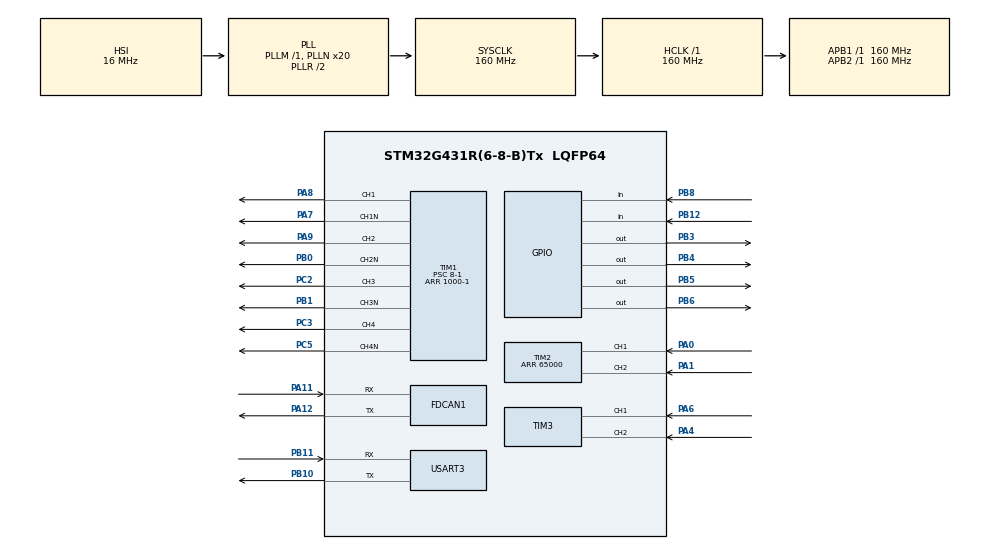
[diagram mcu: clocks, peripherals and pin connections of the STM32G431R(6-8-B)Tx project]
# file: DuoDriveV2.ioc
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FDCAN1.CalculateBaudRateNominal=3333333
FDCAN1.CalculateTimeBitNominal=300
FDCAN1.CalculateTimeQuantumNominal=100.0
Mcu.Family=STM32G4
Mcu.Name=STM32G431R(6-8-B)Tx
Mcu.Package=LQFP64
NVIC.PriorityGroup=NVIC_PRIORITYGROUP_4
NVIC.TIM1_TRG_COM_TIM17_IRQn=true\:0\:0\:false\:false\:true\:true\:true\:true
NVIC.TIM1_UP_TIM16_IRQn=true\:0\:0\:false\:false\:true\:true\:true\:true
PA0.Signal=S_TIM2_CH1
PA1.Signal=S_TIM2_CH2
PA11.Mode=FDCAN_Activate
PA11.Signal=FDCAN1_RX
PA12.Mode=FDCAN_Activate
PA12.Signal=FDCAN1_TX
PA13.Mode=Serial_Wire
PA13.Signal=SYS_JTMS-SWDIO
PA14.Mode=Serial_Wire
PA14.Signal=SYS_JTCK-SWCLK
PA4.Signal=S_TIM3_CH2
PA6.Signal=S_TIM3_CH1
PA7.Mode=PWM Generation1 CH1 CH1N
PA7.Signal=TIM1_CH1N
PA8.Signal=S_TIM1_CH1
PA9.Signal=S_TIM1_CH2
PB0.Mode=PWM Generation2 CH2 CH2N
PB0.Signal=TIM1_CH2N
PB1.Mode=PWM Generation3 CH3 CH3N
PB1.Signal=TIM1_CH3N
PB10.Mode=Asynchronous
PB10.Signal=USART3_TX
PB11.Mode=Asynchronous
PB11.Signal=USART3_RX
PB12.Signal=GPIO_Input
PB3.Signal=GPIO_Output
PB4.Signal=GPIO_Output
PB5.Signal=GPIO_Output
PB6.Signal=GPIO_Output
PB8-BOOT0.Signal=GPIO_Input
PC2.Signal=S_TIM1_CH3
PC3.Signal=S_TIM1_CH4
PC5.Mode=PWM Generation4 CH4 CH4N
PC5.Signal=TIM1_CH4N
PF0-OSC_IN.Mode=HSE-External-Oscillator
PF0-OSC_IN.Signal=RCC_OSC_IN
PF1-OSC_OUT.Mode=HSE-External-Oscillator
PF1-OSC_OUT.Signal=RCC_OSC_OUT
ProjectManager.HeapSize=0x200
ProjectManager.StackSize=0x400
ProjectManager.TargetToolchain=STM32CubeIDE
RCC.ADC12Freq_Value=160000000
RCC.AHBFreq_Value=160000000
RCC.APB1Freq_Value=160000000
RCC.APB1TimFreq_Value=160000000
RCC.APB2Freq_Value=160000000
RCC.APB2TimFreq_Value=160000000
RCC.CortexFreq_Value=160000000
RCC.EXTERNAL_CLOCK_VALUE=12288000
RCC.HCLKFreq_Value=160000000
RCC.HSE_VALUE=8000000
RCC.HSI48_VALUE=48000000
RCC.HSI_VALUE=16000000
RCC.LSE_VALUE=32768
RCC.PLLN=20
RCC.SYSCLKFreq_VALUE=160000000
RCC.SYSCLKSource=RCC_SYSCLKSOURCE_PLLCLK
RCC.USBFreq_Value=160000000
RCC.VCOOutputFreq_Value=320000000
SH.S_TIM1_CH1.0=TIM1_CH1,PWM Generation1 CH1 CH1N
SH.S_TIM1_CH2.0=TIM1_CH2,PWM Generation2 CH2 CH2N
SH.S_TIM1_CH3.0=TIM1_CH3,PWM Generation3 CH3 CH3N
SH.S_TIM1_CH4.0=TIM1_CH4,PWM Generation4 CH4 CH4N
SH.S_TIM2_CH1.0=TIM2_CH1,Encoder_Interface
SH.S_TIM2_CH2.0=TIM2_CH2,Encoder_Interface
SH.S_TIM3_CH1.0=TIM3_CH1,Encoder_Interface
SH.S_TIM3_CH2.0=TIM3_CH2,Encoder_Interface
TIM1.AutoReloadPreload=TIM_AUTORELOAD_PRELOAD_ENABLE
TIM1.Channel-PWM\ Generation1\ CH1\ CH1N=TIM_CHANNEL_1
TIM1.Channel-PWM\ Generation2\ CH2\ CH2N=TIM_CHANNEL_2
TIM1.Channel-PWM\ Generation3\ CH3\ CH3N=TIM_CHANNEL_3
TIM1.Channel-PWM\ Generation4\ CH4\ CH4N=TIM_CHANNEL_4
TIM1.DeadTime=32
TIM1.PeriodNoDither=1000-1
TIM1.Prescaler=8-1
TIM16.PeriodNoDither=40000-1
TIM16.Prescaler=80-1
TIM17.PeriodNoDither=10000-1
TIM17.Prescaler=1600-1
TIM2.EncoderMode=TIM_ENCODERMODE_TI12
TIM2.PeriodNoDither=65000
USART3.VirtualMode-Asynchronous=VM_ASYNC
VP_SYS_VS_DBSignals.Mode=DisableDeadBatterySignals
VP_TIM16_VS_ClockSourceINT.Mode=Enable_Timer
VP_TIM17_VS_ClockSourceINT.Mode=Enable_Timer
board=custom

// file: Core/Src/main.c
/* USER CODE BEGIN Header */
/**
  ******************************************************************************
  * @file           : main.c
  * @brief          : Main program body
  ******************************************************************************
  * @attention
  *
  * Copyright (c) 2025 STMicroelectronics.
  * All rights reserved.
  *
  * This software is licensed under terms that can be found in the LICENSE file
  * in the root directory of this software component.
  * If no LICENSE file comes with this software, it is provided AS-IS.
  *
  ******************************************************************************
  */
/* USER CODE END Header */
#include "main.h"

/* USER CODE BEGIN Includes */
#include "pid.h"
/* USER CODE END Includes */

/* USER CODE BEGIN PTD */
typedef struct LED{
	int8_t freq;
	int8_t counter;
	uint16_t gpio;
} LED;

PID_TypeDef Motor1_PID;
PID_TypeDef Motor2_PID;

/* USER CODE END PTD */

FDCAN_HandleTypeDef hfdcan1;

TIM_HandleTypeDef htim1;
TIM_HandleTypeDef htim2;
TIM_HandleTypeDef htim3;
TIM_HandleTypeDef htim16;
TIM_HandleTypeDef htim17;

UART_HandleTypeDef huart3;

/* USER CODE BEGIN PV */
int16_t motor1_pwm = 0;
int16_t test = 0;

uint8_t Loop_Time = 20; //in mS

double Motor1_PPR = 249.6;
double Motor1_Speed, Motor1_Pos, Motor1_setSpeed, Motor1_setPos, Motor1_PID_out;
//double Motor2_Speed, Motor2_Pos, Motor2_PID_out, Motor2_setSpeed;

double Motor1_pwm,Motor2_pwm,Motor3_pwm,Motor4_pwm;
/* USER CODE END PV */

void SystemClock_Config(void);
static void MX_GPIO_Init(void);
static void MX_FDCAN1_Init(void);
static void MX_TIM1_Init(void);
static void MX_TIM2_Init(void);
static void MX_TIM3_Init(void);
static void MX_USART3_UART_Init(void);
static void MX_TIM17_Init(void);
static void MX_TIM16_Init(void);
/* USER CODE BEGIN PFP */
void SetPWM();
void LEDBlink(LED led);
void EncoderCalc(void);
/* USER CODE END PFP */

/* USER CODE BEGIN 0 */
LED low1 = {12, 0, GPIO_PIN_6};
LED high1 = {12, 0, GPIO_PIN_5};
LED low2 = {12, 0, GPIO_PIN_4};
LED high2 = {12, 0, GPIO_PIN_3};

int16_t Generate_Triangle_Oscillation(void)
{
    static int16_t value = 0;
    static int8_t step = 10; // Step size (adjust speed)

    value += step;
    if (value >= 999 || value <= -999)
        step = -step;  // Reverse direction

    return value;
}
/* USER CODE END 0 */

int main(void)
{

  /* MCU Configuration--------------------------------------------------------*/

  /* Reset of all peripherals, Initializes the Flash interface and the Systick. */
  HAL_Init();

  /* Configure the system clock */
  SystemClock_Config();

  /* Initialize all configured peripherals */
  MX_GPIO_Init();
  MX_FDCAN1_Init();
  MX_TIM1_Init();
  MX_TIM2_Init();
  MX_TIM3_Init();
  MX_USART3_UART_Init();
  MX_TIM17_Init();
  MX_TIM16_Init();
  /* USER CODE BEGIN 2 */
  HAL_TIM_Base_Start_IT(&htim17);
  HAL_TIM_Base_Start_IT(&htim16);

  HAL_TIM_PWM_Start(&htim1, TIM_CHANNEL_1);
  HAL_TIMEx_PWMN_Start(&htim1, TIM_CHANNEL_1);

  HAL_TIM_PWM_Start(&htim1, TIM_CHANNEL_2);
  HAL_TIMEx_PWMN_Start(&htim1, TIM_CHANNEL_2);

  HAL_TIM_Encoder_Start(&htim2, TIM_CHANNEL_ALL);
  SetPWM();
  HAL_Delay(1000);
  /* USER CODE END 2 */

  /* Infinite loop */
  while (1)
  {

    /* USER CODE BEGIN 3 */
//	  if(TIM2->CNT < 30000){
//		  motor1_pwm = 900;
//	  }
	  test = TIM2->CNT;

  }
  /* USER CODE END 3 */
}

void SystemClock_Config(void)
{
  RCC_OscInitTypeDef RCC_OscInitStruct = {0};
  RCC_ClkInitTypeDef RCC_ClkInitStruct = {0};

  /** Configure the main internal regulator output voltage
  */
  HAL_PWREx_ControlVoltageScaling(PWR_REGULATOR_VOLTAGE_SCALE1_BOOST);

  /** Initializes the RCC Oscillators according to the specified parameters
  * in the RCC_OscInitTypeDef structure.
  */
  RCC_OscInitStruct.OscillatorType = RCC_OSCILLATORTYPE_HSI;
  RCC_OscInitStruct.HSIState = RCC_HSI_ON;
  RCC_OscInitStruct.HSICalibrationValue = RCC_HSICALIBRATION_DEFAULT;
  RCC_OscInitStruct.PLL.PLLState = RCC_PLL_ON;
  RCC_OscInitStruct.PLL.PLLSource = RCC_PLLSOURCE_HSI;
  RCC_OscInitStruct.PLL.PLLM = RCC_PLLM_DIV1;
  RCC_OscInitStruct.PLL.PLLN = 20;
  RCC_OscInitStruct.PLL.PLLP = RCC_PLLP_DIV2;
  RCC_OscInitStruct.PLL.PLLQ = RCC_PLLQ_DIV2;
  RCC_OscInitStruct.PLL.PLLR = RCC_PLLR_DIV2;
  if (HAL_RCC_OscConfig(&RCC_OscInitStruct) != HAL_OK)
  {
    Error_Handler();
  }

  /** Initializes the CPU, AHB and APB buses clocks
  */
  RCC_ClkInitStruct.ClockType = RCC_CLOCKTYPE_HCLK|RCC_CLOCKTYPE_SYSCLK
                              |RCC_CLOCKTYPE_PCLK1|RCC_CLOCKTYPE_PCLK2;
  RCC_ClkInitStruct.SYSCLKSource = RCC_SYSCLKSOURCE_PLLCLK;
  RCC_ClkInitStruct.AHBCLKDivider = RCC_SYSCLK_DIV1;
  RCC_ClkInitStruct.APB1CLKDivider = RCC_HCLK_DIV1;
  RCC_ClkInitStruct.APB2CLKDivider = RCC_HCLK_DIV1;

  if (HAL_RCC_ClockConfig(&RCC_ClkInitStruct, FLASH_LATENCY_4) != HAL_OK)
  {
    Error_Handler();
  }
}

static void MX_FDCAN1_Init(void)
{

  hfdcan1.Instance = FDCAN1;
  hfdcan1.Init.ClockDivider = FDCAN_CLOCK_DIV1;
  hfdcan1.Init.FrameFormat = FDCAN_FRAME_CLASSIC;
  hfdcan1.Init.Mode = FDCAN_MODE_NORMAL;
  hfdcan1.Init.AutoRetransmission = DISABLE;
  hfdcan1.Init.TransmitPause = DISABLE;
  hfdcan1.Init.ProtocolException = DISABLE;
  hfdcan1.Init.NominalPrescaler = 16;
  hfdcan1.Init.NominalSyncJumpWidth = 1;
  hfdcan1.Init.NominalTimeSeg1 = 1;
  hfdcan1.Init.NominalTimeSeg2 = 1;
  hfdcan1.Init.DataPrescaler = 1;
  hfdcan1.Init.DataSyncJumpWidth = 1;
  hfdcan1.Init.DataTimeSeg1 = 1;
  hfdcan1.Init.DataTimeSeg2 = 1;
  hfdcan1.Init.StdFiltersNbr = 0;
  hfdcan1.Init.ExtFiltersNbr = 0;
  hfdcan1.Init.TxFifoQueueMode = FDCAN_TX_FIFO_OPERATION;
  if (HAL_FDCAN_Init(&hfdcan1) != HAL_OK)
  {
    Error_Handler();
  }

}

static void MX_TIM1_Init(void)
{

  TIM_MasterConfigTypeDef sMasterConfig = {0};
  TIM_OC_InitTypeDef sConfigOC = {0};
  TIM_BreakDeadTimeConfigTypeDef sBreakDeadTimeConfig = {0};

  htim1.Instance = TIM1;
  htim1.Init.Prescaler = 8-1;
  htim1.Init.CounterMode = TIM_COUNTERMODE_UP;
  htim1.Init.Period = 999;
  htim1.Init.ClockDivision = TIM_CLOCKDIVISION_DIV1;
  htim1.Init.RepetitionCounter = 0;
  htim1.Init.AutoReloadPreload = TIM_AUTORELOAD_PRELOAD_ENABLE;
  if (HAL_TIM_PWM_Init(&htim1) != HAL_OK)
  {
    Error_Handler();
  }
  sMasterConfig.MasterOutputTrigger = TIM_TRGO_RESET;
  sMasterConfig.MasterOutputTrigger2 = TIM_TRGO2_RESET;
  sMasterConfig.MasterSlaveMode = TIM_MASTERSLAVEMODE_DISABLE;
  if (HAL_TIMEx_MasterConfigSynchronization(&htim1, &sMasterConfig) != HAL_OK)
  {
    Error_Handler();
  }
  sConfigOC.OCMode = TIM_OCMODE_PWM1;
  sConfigOC.Pulse = 0;
  sConfigOC.OCPolarity = TIM_OCPOLARITY_HIGH;
  sConfigOC.OCNPolarity = TIM_OCNPOLARITY_HIGH;
  sConfigOC.OCFastMode = TIM_OCFAST_DISABLE;
  sConfigOC.OCIdleState = TIM_OCIDLESTATE_RESET;
  sConfigOC.OCNIdleState = TIM_OCNIDLESTATE_RESET;
  if (HAL_TIM_PWM_ConfigChannel(&htim1, &sConfigOC, TIM_CHANNEL_1) != HAL_OK)
  {
    Error_Handler();
  }
  if (HAL_TIM_PWM_ConfigChannel(&htim1, &sConfigOC, TIM_CHANNEL_2) != HAL_OK)
  {
    Error_Handler();
  }
  if (HAL_TIM_PWM_ConfigChannel(&htim1, &sConfigOC, TIM_CHANNEL_3) != HAL_OK)
  {
    Error_Handler();
  }
  if (HAL_TIM_PWM_ConfigChannel(&htim1, &sConfigOC, TIM_CHANNEL_4) != HAL_OK)
  {
    Error_Handler();
  }
  sBreakDeadTimeConfig.OffStateRunMode = TIM_OSSR_DISABLE;
  sBreakDeadTimeConfig.OffStateIDLEMode = TIM_OSSI_DISABLE;
  sBreakDeadTimeConfig.LockLevel = TIM_LOCKLEVEL_OFF;
  sBreakDeadTimeConfig.DeadTime = 32;
  sBreakDeadTimeConfig.BreakState = TIM_BREAK_DISABLE;
  sBreakDeadTimeConfig.BreakPolarity = TIM_BREAKPOLARITY_HIGH;
  sBreakDeadTimeConfig.BreakFilter = 0;
  sBreakDeadTimeConfig.BreakAFMode = TIM_BREAK_AFMODE_INPUT;
  sBreakDeadTimeConfig.Break2State = TIM_BREAK2_DISABLE;
  sBreakDeadTimeConfig.Break2Polarity = TIM_BREAK2POLARITY_HIGH;
  sBreakDeadTimeConfig.Break2Filter = 0;
  sBreakDeadTimeConfig.Break2AFMode = TIM_BREAK_AFMODE_INPUT;
  sBreakDeadTimeConfig.AutomaticOutput = TIM_AUTOMATICOUTPUT_DISABLE;
  if (HAL_TIMEx_ConfigBreakDeadTime(&htim1, &sBreakDeadTimeConfig) != HAL_OK)
  {
    Error_Handler();
  }
  HAL_TIM_MspPostInit(&htim1);

}

static void MX_TIM2_Init(void)
{

  TIM_Encoder_InitTypeDef sConfig = {0};
  TIM_MasterConfigTypeDef sMasterConfig = {0};

  htim2.Instance = TIM2;
  htim2.Init.Prescaler = 0;
  htim2.Init.CounterMode = TIM_COUNTERMODE_UP;
  htim2.Init.Period = 65000;
  htim2.Init.ClockDivision = TIM_CLOCKDIVISION_DIV1;
  htim2.Init.AutoReloadPreload = TIM_AUTORELOAD_PRELOAD_DISABLE;
  sConfig.EncoderMode = TIM_ENCODERMODE_TI12;
  sConfig.IC1Polarity = TIM_ICPOLARITY_RISING;
  sConfig.IC1Selection = TIM_ICSELECTION_DIRECTTI;
  sConfig.IC1Prescaler = TIM_ICPSC_DIV1;
  sConfig.IC1Filter = 0;
  sConfig.IC2Polarity = TIM_ICPOLARITY_RISING;
  sConfig.IC2Selection = TIM_ICSELECTION_DIRECTTI;
  sConfig.IC2Prescaler = TIM_ICPSC_DIV1;
  sConfig.IC2Filter = 0;
  if (HAL_TIM_Encoder_Init(&htim2, &sConfig) != HAL_OK)
  {
    Error_Handler();
  }
  sMasterConfig.MasterOutputTrigger = TIM_TRGO_RESET;
  sMasterConfig.MasterSlaveMode = TIM_MASTERSLAVEMODE_DISABLE;
  if (HAL_TIMEx_MasterConfigSynchronization(&htim2, &sMasterConfig) != HAL_OK)
  {
    Error_Handler();
  }

}

static void MX_TIM3_Init(void)
{

  TIM_Encoder_InitTypeDef sConfig = {0};
  TIM_MasterConfigTypeDef sMasterConfig = {0};

  htim3.Instance = TIM3;
  htim3.Init.Prescaler = 0;
  htim3.Init.CounterMode = TIM_COUNTERMODE_UP;
  htim3.Init.Period = 65535;
  htim3.Init.ClockDivision = TIM_CLOCKDIVISION_DIV1;
  htim3.Init.AutoReloadPreload = TIM_AUTORELOAD_PRELOAD_DISABLE;
  sConfig.EncoderMode = TIM_ENCODERMODE_TI1;
  sConfig.IC1Polarity = TIM_ICPOLARITY_RISING;
  sConfig.IC1Selection = TIM_ICSELECTION_DIRECTTI;
  sConfig.IC1Prescaler = TIM_ICPSC_DIV1;
  sConfig.IC1Filter = 0;
  sConfig.IC2Polarity = TIM_ICPOLARITY_RISING;
  sConfig.IC2Selection = TIM_ICSELECTION_DIRECTTI;
  sConfig.IC2Prescaler = TIM_ICPSC_DIV1;
  sConfig.IC2Filter = 0;
  if (HAL_TIM_Encoder_Init(&htim3, &sConfig) != HAL_OK)
  {
    Error_Handler();
  }
  sMasterConfig.MasterOutputTrigger = TIM_TRGO_RESET;
  sMasterConfig.MasterSlaveMode = TIM_MASTERSLAVEMODE_DISABLE;
  if (HAL_TIMEx_MasterConfigSynchronization(&htim3, &sMasterConfig) != HAL_OK)
  {
    Error_Handler();
  }

}

static void MX_TIM16_Init(void)
{

  htim16.Instance = TIM16;
  htim16.Init.Prescaler = 80-1;
  htim16.Init.CounterMode = TIM_COUNTERMODE_UP;
  htim16.Init.Period = 39999;
  htim16.Init.ClockDivision = TIM_CLOCKDIVISION_DIV1;
  htim16.Init.RepetitionCounter = 0;
  htim16.Init.AutoReloadPreload = TIM_AUTORELOAD_PRELOAD_DISABLE;
  if (HAL_TIM_Base_Init(&htim16) != HAL_OK)
  {
    Error_Handler();
  }

}

static void MX_TIM17_Init(void)
{

  htim17.Instance = TIM17;
  htim17.Init.Prescaler = 1600-1;
  htim17.Init.CounterMode = TIM_COUNTERMODE_UP;
  htim17.Init.Period = 9999;
  htim17.Init.ClockDivision = TIM_CLOCKDIVISION_DIV1;
  htim17.Init.RepetitionCounter = 0;
  htim17.Init.AutoReloadPreload = TIM_AUTORELOAD_PRELOAD_DISABLE;
  if (HAL_TIM_Base_Init(&htim17) != HAL_OK)
  {
    Error_Handler();
  }

}

static void MX_USART3_UART_Init(void)
{

  huart3.Instance = USART3;
  huart3.Init.BaudRate = 115200;
  huart3.Init.WordLength = UART_WORDLENGTH_8B;
  huart3.Init.StopBits = UART_STOPBITS_1;
  huart3.Init.Parity = UART_PARITY_NONE;
  huart3.Init.Mode = UART_MODE_TX_RX;
  huart3.Init.HwFlowCtl = UART_HWCONTROL_NONE;
  huart3.Init.OverSampling = UART_OVERSAMPLING_16;
  huart3.Init.OneBitSampling = UART_ONE_BIT_SAMPLE_DISABLE;
  huart3.Init.ClockPrescaler = UART_PRESCALER_DIV1;
  huart3.AdvancedInit.AdvFeatureInit = UART_ADVFEATURE_NO_INIT;
  if (HAL_UART_Init(&huart3) != HAL_OK)
  {
    Error_Handler();
  }
  if (HAL_UARTEx_SetTxFifoThreshold(&huart3, UART_TXFIFO_THRESHOLD_1_8) != HAL_OK)
  {
    Error_Handler();
  }
  if (HAL_UARTEx_SetRxFifoThreshold(&huart3, UART_RXFIFO_THRESHOLD_1_8) != HAL_OK)
  {
    Error_Handler();
  }
  if (HAL_UARTEx_DisableFifoMode(&huart3) != HAL_OK)
  {
    Error_Handler();
  }

}

static void MX_GPIO_Init(void)
{
  GPIO_InitTypeDef GPIO_InitStruct = {0};

  /* GPIO Ports Clock Enable */
  __HAL_RCC_GPIOF_CLK_ENABLE();
  __HAL_RCC_GPIOC_CLK_ENABLE();
  __HAL_RCC_GPIOA_CLK_ENABLE();
  __HAL_RCC_GPIOB_CLK_ENABLE();

  /*Configure GPIO pin Output Level */
  HAL_GPIO_WritePin(GPIOB, GPIO_PIN_3|GPIO_PIN_4|GPIO_PIN_5|GPIO_PIN_6, GPIO_PIN_RESET);

  /*Configure GPIO pins : PB12 PB8 */
  GPIO_InitStruct.Pin = GPIO_PIN_12|GPIO_PIN_8;
  GPIO_InitStruct.Mode = GPIO_MODE_INPUT;
  GPIO_InitStruct.Pull = GPIO_NOPULL;
  HAL_GPIO_Init(GPIOB, &GPIO_InitStruct);

  /*Configure GPIO pins : PB3 PB4 PB5 PB6 */
  GPIO_InitStruct.Pin = GPIO_PIN_3|GPIO_PIN_4|GPIO_PIN_5|GPIO_PIN_6;
  GPIO_InitStruct.Mode = GPIO_MODE_OUTPUT_PP;
  GPIO_InitStruct.Pull = GPIO_NOPULL;
  GPIO_InitStruct.Speed = GPIO_SPEED_FREQ_LOW;
  HAL_GPIO_Init(GPIOB, &GPIO_InitStruct);

}

/* USER CODE BEGIN 4 */

void EncoderCalc() {
    int16_t encoder1 = TIM2->CNT;
    TIM2->CNT = 0;  // Reset counter after reading

    Motor1_Pos += (double)encoder1;  // Update absolute position (double precision)

    // Convert to RPM with floating-point precision
    Motor1_Speed = ((double)encoder1 * 3000.0) / Motor1_PPR;
}

void SetPWM(){
	if(motor1_pwm == 0){
		TIM1 -> CCR1 = 0;
		TIM1 -> CCR2 = 0;
		high1.freq = 10;
		low1.freq = 10;
	}
	else if(motor1_pwm > 0){
		TIM1 -> CCR1 = 0;
		TIM1 -> CCR2 = motor1_pwm;
		high1.freq = 3;
		low1.freq = 0;
	}
	else{
		TIM1 -> CCR1 = -motor1_pwm;
		TIM1 -> CCR2 = 0;
		high1.freq = 0;
		low1.freq = 3;
	}

}
void LEDBlink(LED led){
	// set blink pattern for each led
	// 0 = off, 11 = full, 12 = no control
	// 1-10 = blink, smaller value blink faster
	switch (led.freq) {
		case 12:
			break;
		case 11:
			HAL_GPIO_WritePin(GPIOB, led.gpio, 1);
			break;
		case 0:
			HAL_GPIO_WritePin(GPIOB, led.gpio, 0);
			break;
		default:
			if(led.counter > 0){
				led.counter -= 1;
			}
			else{
				HAL_GPIO_TogglePin(GPIOB, led.gpio);
				led.counter = led.freq;
			}
			break;
	}
}

void HAL_TIM_PeriodElapsedCallback(TIM_HandleTypeDef* htim)
{
	if(htim->Instance == TIM17){
		LEDBlink(low1);
		LEDBlink(high1);
		LEDBlink(low2);
		LEDBlink(high2);
    motor1_pwm = Generate_Triangle_Oscillation();
    SetPWM();
	}
	if(htim->Instance == TIM16){
		EncoderCalc();
		HAL_GPIO_TogglePin(GPIOB, GPIO_PIN_3);
	}
}
/* USER CODE END 4 */

void Error_Handler(void)
{
  __disable_irq();
  while (1)
  {
  }
}
